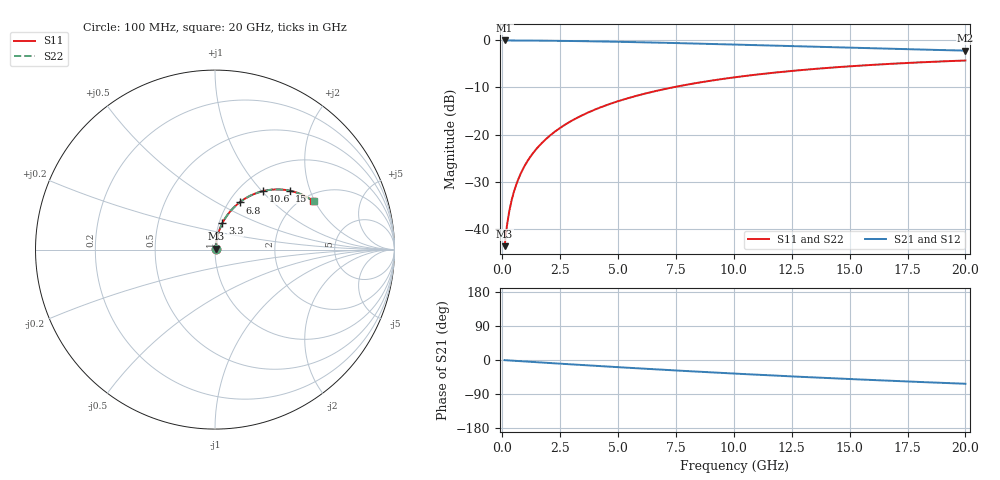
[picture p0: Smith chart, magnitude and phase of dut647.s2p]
! Touchstone file exported from HFSS 2026.1.0
!  File:  C:/ffzhzh/LocalFiles/Ansys_Project_Files/temp_train_BSMRDL_647_1783016893_53980.aedt
!  Generated:  02:29:59 AM Jul  3, 2026
!  Design:  BSMRDL
!  Project:  temp_train_BSMRDL_647_1783016893_53980
! Variables:
!  h_bsmrdl = 5.84um
!  h_ox = 20um
!  h_rdl = 5um
!  h_sub = 80um
!  h_tmrdl = 5um
!  h_tsv = 80um
!  h_via = 3um
!  l_bsmrdl = 952.13um
!  l_sub = 1352.13um
!  l_tmrdl = 200um
!  m_sub = 200um
!  pitch = 54.23um
!  r_tsv = 6um
!  s_tmrdl = 10um
!  w_bsmrdl = 13.34um
!  w_sub = 500um
!  w_tmrdl = 12um
!  x_tsv_center1 = 206um
!  x_tsv_center2 = 1171.47um
!  x_tsv_center3 = 1383.47um
!  x_tsv_center4 = 2348.94um
!  x_tsv_center5 = 2560.94um
!  x_tsv_center6 = 3526.41um
# GHz S MA R 50.000000
! Terminal data exported
! Port[1] = BSM_RDL1_1_T1
! Port[2] = BSM_RDL1_1_T2
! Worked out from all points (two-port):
!   200 points, 100 MHz to 20 GHz, reference 50 ohm
!   highest |S21| = -0.04 dB at 100 MHz (marker M1); lowest = -2.2 dB at 20 GHz (marker M2)
!   |S21| within 3 dB of the highest: start of sweep to end of sweep
!   lowest |S11| = -43.6 dB at 100 MHz (marker M3), VSWR 1.01, Z = 50.4 + j0.498 ohm
!   |S11| at or under -10 dB: start of sweep to 7.338 GHz
!   |S22| runs from -43.6 to -4.3 dB; largest |S21 - S12| = 2.6e-15
!   S11 on the Smith chart (normalised r, x): 100 MHz: 1.01, +0.01; 3.3 GHz: 1.04, +0.32; 6.8 GHz: 1.12, +0.65; 10.6 GHz: 1.28, +1.02; 15 GHz: 1.60, +1.46; 20 GHz: 2.27, +1.95
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0.1  0.006603 48.4  0.9956 -0.4  0.9956 -0.4  0.006603 48.4
! Gamma 0 0 0 0
! Port Impedance 50 0 50 0
0.2  0.01084 64.9  0.9955 -0.8  0.9955 -0.8  0.01084 64.9
0.3  0.01544 71.5  0.9953 -1.2  0.9953 -1.2  0.01544 71.5
0.4  0.02011 74.9  0.9951 -1.6  0.9951 -1.6  0.02011 74.9
0.5  0.0248 76.8  0.9949 -2.0  0.9949 -2.0  0.0248 76.8
0.7  0.03423 78.8  0.9944 -2.8  0.9944 -2.8  0.03423 78.8
1  0.0484 79.9  0.9936 -3.9  0.9936 -3.9  0.0484 79.8
1.4  0.06725 79.7  0.9921 -5.5  0.9921 -5.5  0.06725 79.7
1.9  0.0906 78.7  0.9898 -7.4  0.9898 -7.4  0.0906 78.7
2.5  0.1182 77.0  0.9861 -9.7  0.9861 -9.7  0.1182 77.0
3.3  0.1541 74.3  0.9801 -12.7  0.9801 -12.7  0.1541 74.3
3.5  0.1629 73.7  0.9785 -13.5  0.9785 -13.5  0.1629 73.6
4.2  0.193 71.3  0.9721 -16.0  0.9721 -16.0  0.193 71.3
5  0.2263 68.5  0.964 -18.9  0.964 -18.9  0.2263 68.5
6.8  0.2966 62.5  0.9433 -25.3  0.9433 -25.3  0.2966 62.5
8.3  0.3499 57.6  0.9241 -30.3  0.9241 -30.3  0.3499 57.6
10.1  0.4075 52.1  0.8997 -36.0  0.8997 -36.0  0.4075 52.0
10.6  0.4222 50.6  0.8928 -37.6  0.8928 -37.6  0.4222 50.5
13.4  0.4952 42.6  0.8545 -45.8  0.8545 -45.8  0.4952 42.5
15  0.53 38.3  0.8336 -50.2  0.8336 -50.2  0.53 38.2
16.7  0.5619 33.9  0.8128 -54.7  0.8128 -54.7  0.562 33.9
20  0.6108 26.1  0.7776 -62.7  0.7776 -62.7  0.6109 26.0
